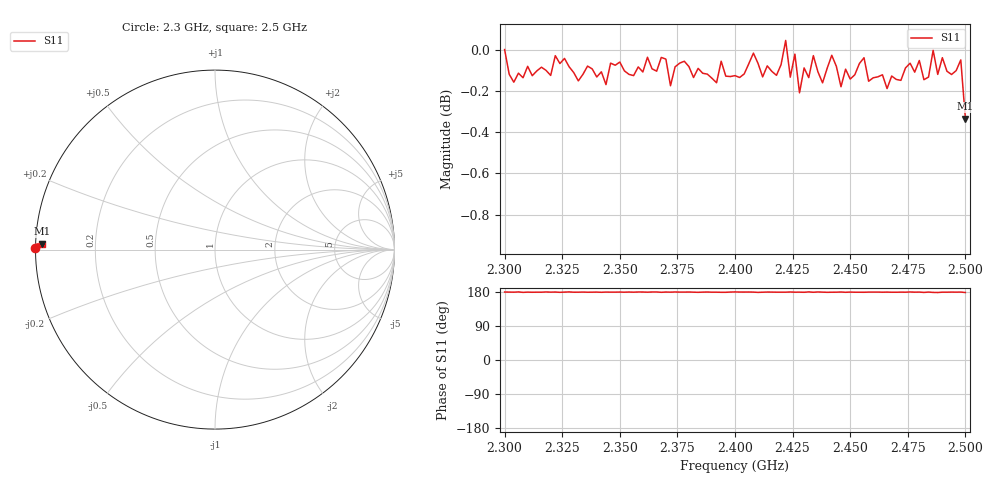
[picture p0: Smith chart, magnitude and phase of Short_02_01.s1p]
# HZ S RI R 50
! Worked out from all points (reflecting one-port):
!   101 points, 2.3 GHz to 2.5 GHz, reference 50 ohm
!   lowest |S11| = -0.3 dB at 2.5 GHz (marker M1), VSWR 52.07, Z = 0.961 + j0.871 ohm
!   phase of S11 starts at 179 deg and turns -1 deg over the sweep
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2.3e9  -1 0.00983
2.304e9  -0.982 0.017
2.326e9  -0.9952 0.0145
2.344e9  -0.9807 0.0129
2.35e9  -0.9932 0.0121
2.368e9  -0.9956 0.0235
2.37e9  -0.9949 0.0116
2.372e9  -0.9801 0.016
2.376e9  -0.9926 0.0144
2.396e9  -0.9852 0.0229
2.4e9  -0.9857 0.00679
2.41e9  -0.9922 0.0267
2.414e9  -0.9911 0.0113
2.426e9  -0.9975 0.0178
2.428e9  -0.9762 0.0155
2.43e9  -0.9898 0.0224
2.432e9  -0.9846 0.00424
2.434e9  -0.9966 0.0218
2.436e9  -0.9878 0.00656
2.44e9  -0.9895 0.0238
2.45e9  -0.9838 0.0129
2.476e9  -0.9926 0.00736
2.482e9  -0.9831 0.0289
2.484e9  -0.9849 0.0123
2.486e9  -0.9994 0.0283
2.488e9  -0.9859 0.0323
2.498e9  -0.9944 0.0125
2.5e9  -0.9617 0.0335
